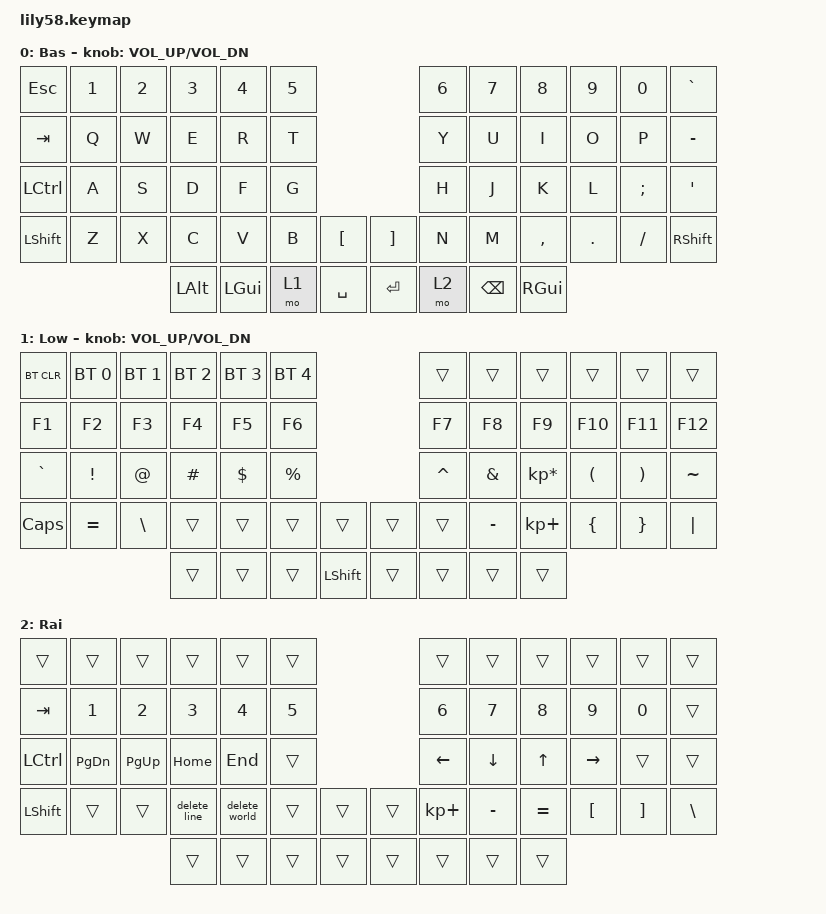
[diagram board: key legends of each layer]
/*
 * Copyright (c) 2020 The ZMK Contributors
 *
 * SPDX-License-Identifier: MIT
 */

#include <behaviors.dtsi>
#include <dt-bindings/zmk/bt.h>
#include <dt-bindings/zmk/keys.h>

/ {
    macros {
        delete_world: delete_world {
            compatible = "zmk,behavior-macro";
            #binding-cells = <0>;
            bindings = <&mt RCTRL BACKSPACE>;
            label = "DELETE_WORLD";
        };

        delete_line: delete_line {
            compatible = "zmk,behavior-macro";
            #binding-cells = <0>;
            bindings = <&mt LEFT_SHIFT HOME &kp BACKSPACE>;
            label = "DELETE_LINE";
        };
    };

    keymap {
        compatible = "zmk,keymap";

        default_layer {
            // ------------------------------------------------------------------------------------------------------------
            // |  ESC  |  1  |  2  |  3   |  4   |  5   |                   |  6   |  7    |  8    |  9   |   0   |   `   |
            // |  TAB  |  Q  |  W  |  E   |  R   |  T   |                   |  Y   |  U    |  I    |  O   |   P   |   -   |
            // |  CTRL |  A  |  S  |  D   |  F   |  G   |                   |  H   |  J    |  K    |  L   |   ;   |   '   |
            // | SHIFT |  Z  |  X  |  C   |  V   |  B   |   "["  |  |  "]"  |  N   |  M    |  ,    |  .   |   /   | SHIFT |
            //                     | ALT  | GUI  | LOWER|  SPACE |  | ENTER | RAISE| BSPC  | GUI   |

            display-name = "Bas";
            bindings = <
&kp ESC         &kp N1  &kp N2  &kp N3    &kp N4    &kp N5                         &kp N6  &kp N7         &kp N8     &kp N9   &kp N0    &kp GRAVE
&kp TAB         &kp Q   &kp W   &kp E     &kp R     &kp T                          &kp Y   &kp U          &kp I      &kp O    &kp P     &kp MINUS
&kp LCTRL       &kp A   &kp S   &kp D     &kp F     &kp G                          &kp H   &kp J          &kp K      &kp L    &kp SEMI  &kp SQT
&kp LEFT_SHIFT  &kp Z   &kp X   &kp C     &kp V     &kp B   &kp LBKT     &kp RBKT  &kp N   &kp M          &kp COMMA  &kp DOT  &kp FSLH  &kp RSHFT
                                &kp LALT  &kp LGUI  &mo 1   &kp SPACE    &kp RET   &mo 2   &kp BACKSPACE  &kp RGUI
            >;

            sensor-bindings = <&inc_dec_kp C_VOL_UP C_VOL_DN>;
        };

        lower_layer {
            // ------------------------------------------------------------------------------------------------------------
            // | BTCLR | BT1 | BT2 |  BT3 |  BT4 |  BT5 |                   |      |       |       |      |       |       |
            // |  F1   |  F2 |  F3 |  F4  |  F5  |  F6  |                   |  F7  |  F8   |  F9   |  F10 |  F11  |  F12  |
            // |   `   |  !  |  @  |  #   |  $   |  %   |                   |  ^   |  &    |  *    |  (   |   )   |   ~   |
            // |       |     |     |      |      |      |        |  |       |      |  _    |  +    |  {   |   }   |  "|"  |
            //                     |      |      |      |        |  |       |      |       |       |

            display-name = "Low";
            bindings = <
&bt BT_CLR  &bt BT_SEL 0  &bt BT_SEL 1   &bt BT_SEL 2  &bt BT_SEL 3  &bt BT_SEL 4                            &trans     &trans     &trans           &trans    &trans    &trans
&kp F1      &kp F2        &kp F3         &kp F4        &kp F5        &kp F6                                  &kp F7     &kp F8     &kp F9           &kp F10   &kp F11   &kp F12
&kp GRAVE   &kp EXCL      &kp AT         &kp HASH      &kp DOLLAR    &kp PRCNT                               &kp CARET  &kp AMPS   &kp KP_MULTIPLY  &kp LPAR  &kp RPAR  &kp TILDE
&kp CAPS    &kp EQUAL     &kp BACKSLASH  &trans        &trans        &trans        &trans            &trans  &trans     &kp MINUS  &kp KP_PLUS      &kp LBRC  &kp RBRC  &kp PIPE
                                         &trans        &trans        &trans        &kp LEFT_SHIFT    &trans  &trans     &trans     &trans
            >;

            sensor-bindings = <&inc_dec_kp C_VOL_UP C_VOL_DN>;
        };

        raise_layer {
            // ------------------------------------------------------------------------------------------------------------
            // |       |     |     |      |      |      |                   |      |       |       |      |       |       |
            // |   `   |  1  |  2  |  3   |  4   |  5   |                   |  6   |   7   |   8   |  9   |   0   |       |
            // |   F1  |  F2 |  F3 |  F4  |  F5  |  F6  |                   |      |   <-  |   v   |  ^   |  ->   |       |
            // |   F7  |  F8 |  F9 |  F10 |  F11 |  F12 |        |  |       |  +   |   -   |   =   |  [   |   ]   |   \   |
            //                     |      |      |      |        |  |       |      |       |       |

            display-name = "Rai";
            bindings = <
&trans          &trans         &trans       &trans        &trans         &trans                    &trans       &trans     &trans        &trans     &trans    &trans
&kp TAB         &kp N1         &kp N2       &kp N3        &kp N4         &kp N5                    &kp N6       &kp N7     &kp N8        &kp N9     &kp N0    &trans
&kp LCTRL       &kp PAGE_DOWN  &kp PAGE_UP  &kp HOME      &kp END        &trans                    &kp LEFT     &kp DOWN   &kp UP_ARROW  &kp RIGHT  &trans    &trans
&kp LEFT_SHIFT  &trans         &trans       &delete_line  &delete_world  &trans  &trans    &trans  &kp KP_PLUS  &kp MINUS  &kp EQUAL     &kp LBKT   &kp RBKT  &kp BSLH
                                            &trans        &trans         &trans  &trans    &trans  &trans       &trans     &trans
            >;
        };

        extra_1 { status = "reserved"; };

        extra_2 { status = "reserved"; };

        extra_3 { status = "reserved"; };
    };
};
